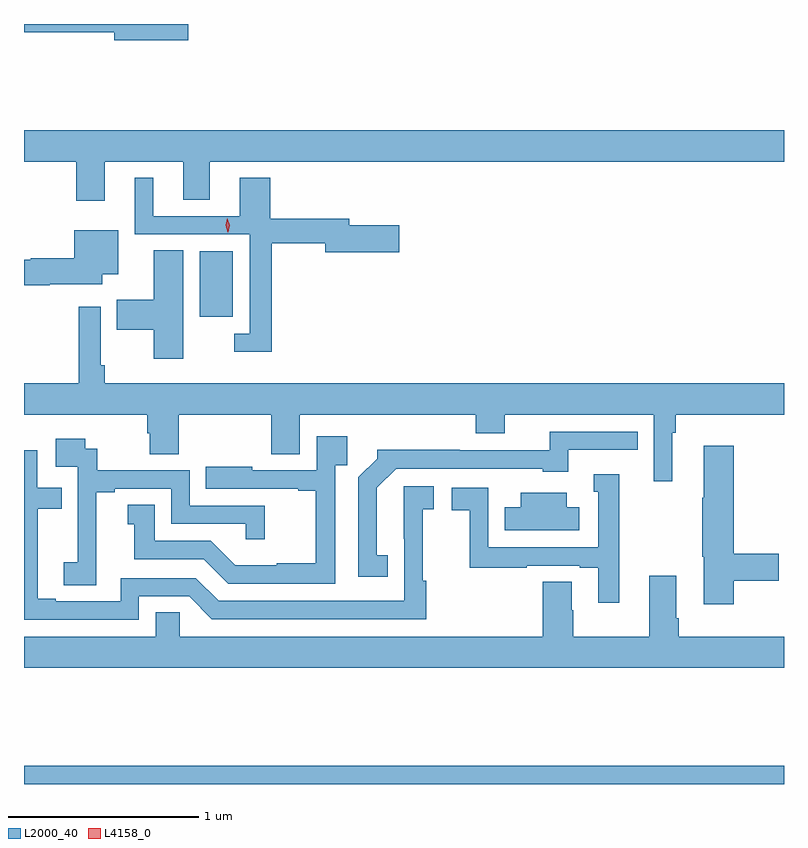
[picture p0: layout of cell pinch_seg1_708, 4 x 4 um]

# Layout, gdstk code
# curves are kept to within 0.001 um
import gdstk
lib = gdstk.Library(unit=1e-6, precision=1e-09)
def R(c, l, rs):  # rectangles x0, y0, x1, y1
    for r in rs: c.add(gdstk.rectangle(r[:2], r[2:], *l))
def P(c, l, *ps):  # polygons
    for p in ps: c.add(gdstk.Polygon(p, *l))
L2000_40 = (2000, 40)
L4158_0 = (4158, 0)

pinch_seg1_708 = lib.new_cell('pinch_seg1_708')
R(pinch_seg1_708, L2000_40, [(744.289,507.164,748.289,507.26), (745.214,509.624,745.387,509.968)])
P(pinch_seg1_708, L2000_40, [(745.153,511.164),(744.289,511.164),(744.289,511.12),(744.764,511.12),(744.764,511.078),(745.153,511.078)],
  [(744.715,510.44),(745.127,510.44),(745.127,510.238),(745.267,510.238),(745.267,510.44),(748.289,510.44),(748.289,510.604),(744.289,510.604),(744.289,510.44),(744.563,510.44),(744.563,510.234),(744.715,510.234)],
  [(745.592,510.01),(745.874,510.01),(745.874,509.963),(746.263,509.963),(746.263,510.105),(746.002,510.105),(746.002,510.139),(745.586,510.139),(745.586,510.355),(745.424,510.355),(745.424,510.153),(744.97,510.153),(744.97,510.355),(744.872,510.355),(744.872,510.057),(745.476,510.057),(745.476,509.535),(745.395,509.535),(745.395,509.438),(745.592,509.438)],
  [(744.424,509.795),(744.7,509.795),(744.7,509.846),(744.784,509.846),(744.784,510.079),(744.554,510.079),(744.554,509.932),(744.324,509.932),(744.324,509.924),(744.289,509.924),(744.289,509.788),(744.424,509.788)],
  [(745.126,509.972),(744.971,509.972),(744.971,509.713),(744.778,509.713),(744.778,509.555),(744.971,509.555),(744.971,509.403),(745.126,509.403)],
  [(747.7,509.012),(747.719,509.012),(747.719,509.108),(748.289,509.108),(748.289,509.272),(744.713,509.272),(744.713,509.368),(744.693,509.368),(744.693,509.677),(744.577,509.677),(744.577,509.272),(744.289,509.272),(744.289,509.108),(744.938,509.108),(744.938,509.01),(744.95,509.01),(744.95,508.9),(745.103,508.9),(745.103,509.108),(745.589,509.108),(745.589,508.9),(745.741,508.9),(745.741,509.108),(746.666,509.108),(746.666,509.009),(746.818,509.009),(746.818,509.108),(747.603,509.108),(747.603,508.758),(747.7,508.758)],
  [(746.204,508.367),(746.146,508.367),(746.146,508.723),(746.247,508.824),(747.018,508.824),(747.018,508.808),(747.154,508.808),(747.154,508.923),(747.518,508.923),(747.518,509.019),(747.055,509.019),(747.055,508.92),(746.582,508.92),(746.582,508.922),(746.148,508.922),(746.148,508.877),(746.049,508.778),(746.049,508.254),(746.204,508.254)],
  [(745.926,508.841),(745.991,508.841),(745.991,508.993),(745.83,508.993),(745.83,508.815),(745.489,508.815),(745.489,508.834),(745.246,508.834),(745.246,508.719),(745.733,508.719),(745.733,508.707),(745.825,508.707),(745.825,508.327),(745.619,508.327),(745.619,508.315),(745.4,508.315),(745.272,508.443),(744.976,508.443),(744.976,508.634),(744.836,508.634),(744.836,508.531),(744.869,508.531),(744.869,508.347),(745.236,508.347),(745.365,508.218),(745.926,508.218)],
  [(744.668,508.321),(744.67,508.321),(744.67,508.699),(744.766,508.699),(744.766,508.719),(745.065,508.719),(745.065,508.533),(745.455,508.533),(745.455,508.452),(745.556,508.452),(745.556,508.629),(745.161,508.629),(745.161,508.815),(744.674,508.815),(744.674,508.929),(744.612,508.929),(744.612,508.981),(744.456,508.981),(744.456,508.833),(744.573,508.833),(744.573,508.529),(744.572,508.529),(744.572,508.332),(744.498,508.332),(744.498,508.21),(744.668,508.21)],
  [(748.025,508.234),(748.261,508.234),(748.261,508.376),(748.025,508.376),(748.025,508.945),(747.866,508.945),(747.866,508.67),(747.859,508.67),(747.859,508.359),(747.866,508.359),(747.866,508.11),(748.025,508.11)],
  [(744.894,508.152),(745.158,508.152),(745.278,508.032),(746.405,508.032),(746.405,508.235),(746.388,508.235),(746.388,508.611),(746.446,508.611),(746.446,508.732),(746.288,508.732),(746.289,508.128),(745.314,508.128),(745.194,508.248),(744.798,508.248),(744.798,508.125),(744.457,508.125),(744.457,508.14),(744.361,508.14),(744.361,508.614),(744.488,508.614),(744.488,508.722),(744.36,508.722),(744.36,508.92),(744.289,508.92),(744.289,508.029),(744.894,508.029)],
  [(747.421,508.795),(747.287,508.795),(747.287,508.701),(747.312,508.701),(747.312,508.41),(746.733,508.41),(746.733,508.722),(746.541,508.722),(746.541,508.606),(746.635,508.606),(746.635,508.302),(746.936,508.302),(746.936,508.314),(747.215,508.314),(747.215,508.302),(747.311,508.302),(747.311,508.119),(747.421,508.119)],
  [(747.211,508.621),(747.145,508.621),(747.145,508.696),(746.903,508.696),(746.903,508.621),(746.818,508.621),(746.818,508.499),(747.211,508.499)],
  [(748.289,507.94),(747.734,507.94),(747.734,508.036),(747.721,508.036),(747.721,508.261),(747.581,508.261),(747.581,507.94),(747.18,507.94),(747.18,508.079),(747.172,508.079),(747.172,508.229),(747.02,508.229),(747.02,507.94),(745.11,507.94),(745.11,508.067),(744.983,508.067),(744.983,507.94),(744.289,507.94),(744.289,507.776),(748.289,507.776)])
P(pinch_seg1_708, L4158_0, [(745.362,510.069),(745.351,510.105),(745.36,510.141),(745.36,510.141),(745.36,510.141),(745.371,510.105),(745.363,510.069),(745.363,510.069)])

lib.write_gds('pinch_seg1_708.gds')
